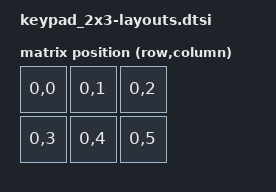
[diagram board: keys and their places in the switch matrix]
#include <physical_layouts.dtsi>
#include <dt-bindings/zmk/matrix_transform.h>

/ {
    default_transform: default_transform {
        compatible = "zmk,matrix-transform";
        rows = <1>;
        columns = <6>;
        // Maps the direct pin array cleanly into an index range of RC(0,0) to RC(0,5)
        map = <
            RC(0,0) RC(0,1) RC(0,2) // Visual Row 1: Pins 0, 1, 2
            RC(0,3) RC(0,4) RC(0,5) // Visual Row 2: Pins 3, 4, 5
        >;
    };

    default_layout: default_layout {
        compatible = "zmk,physical-layout";
        display-name = "3x2 Macropad";
        transform = <&default_transform>;
        kscan = <&kscan0>;
        
        // Tells ZMK Studio how to visually arrange the 6 keys on a 3x2 layout grid
        keys = <
            /* Visual Row 1 (X positions: 0, 100, 200 at Y: 0) */
            <&key_physical_attrs 100 100    0    0 0 0 0>
            , <&key_physical_attrs 100 100 100    0 0 0 0>
            , <&key_physical_attrs 100 100 200    0 0 0 0>
            /* Visual Row 2 (X positions: 0, 100, 200 at Y: 100) */
            , <&key_physical_attrs 100 100    0 100 0 0 0>
            , <&key_physical_attrs 100 100 100 100 0 0 0>
            , <&key_physical_attrs 100 100 200 100 0 0 0>
        >;
    };
};
